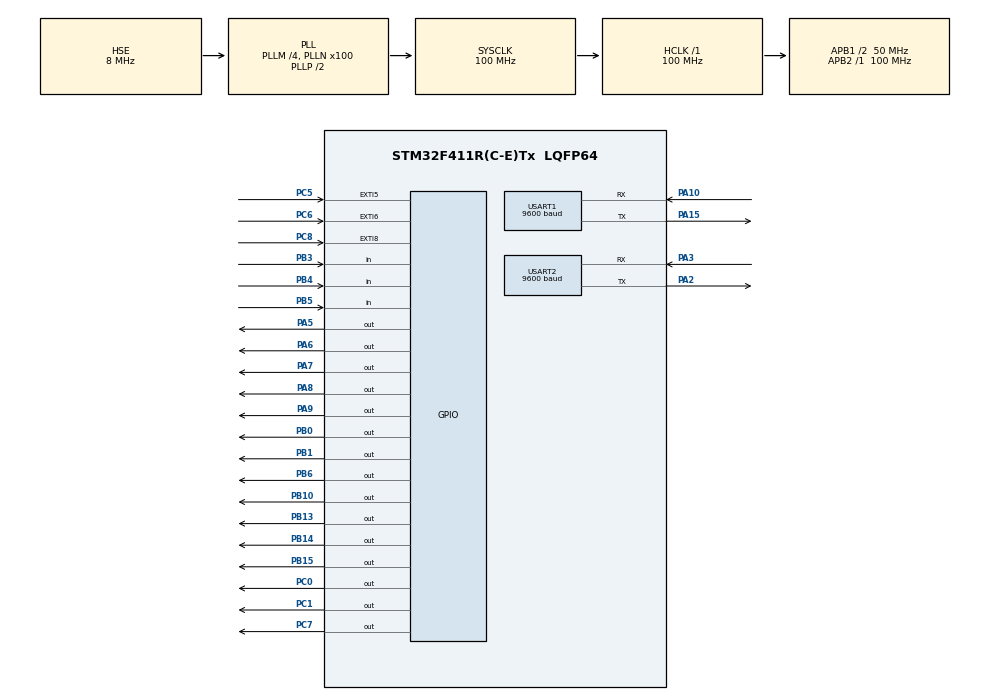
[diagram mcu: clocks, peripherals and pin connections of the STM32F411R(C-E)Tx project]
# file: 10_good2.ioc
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Mcu.Family=STM32F4
Mcu.Name=STM32F411R(C-E)Tx
Mcu.Package=LQFP64
NVIC.PriorityGroup=NVIC_PRIORITYGROUP_0
NVIC.USART1_IRQn=true\:0\:0\:false\:false\:true\:true\:true\:true
NVIC.USART2_IRQn=true\:0\:0\:false\:false\:true\:true\:true\:true
PA10.Mode=Asynchronous
PA10.Signal=USART1_RX
PA13.Mode=Serial_Wire
PA13.Signal=SYS_JTMS-SWDIO
PA14.Mode=Serial_Wire
PA14.Signal=SYS_JTCK-SWCLK
PA15.Mode=Asynchronous
PA15.Signal=USART1_TX
PA2.Mode=Asynchronous
PA2.Signal=USART2_TX
PA3.Mode=Asynchronous
PA3.Signal=USART2_RX
PA5.GPIO_ModeDefaultOutputPP=GPIO_MODE_OUTPUT_PP
PA5.GPIO_PuPd=GPIO_NOPULL
PA5.GPIO_Speed=GPIO_SPEED_FREQ_LOW
PA5.PinState=GPIO_PIN_RESET
PA5.Signal=GPIO_Output
PA6.GPIO_ModeDefaultOutputPP=GPIO_MODE_OUTPUT_PP
PA6.GPIO_PuPd=GPIO_NOPULL
PA6.GPIO_Speed=GPIO_SPEED_FREQ_LOW
PA6.PinState=GPIO_PIN_RESET
PA6.Signal=GPIO_Output
PA7.GPIO_ModeDefaultOutputPP=GPIO_MODE_OUTPUT_PP
PA7.GPIO_PuPd=GPIO_NOPULL
PA7.GPIO_Speed=GPIO_SPEED_FREQ_LOW
PA7.PinState=GPIO_PIN_RESET
PA7.Signal=GPIO_Output
PA8.PinState=GPIO_PIN_RESET
PA8.Signal=GPIO_Output
PA9.GPIO_ModeDefaultOutputPP=GPIO_MODE_OUTPUT_PP
PA9.GPIO_PuPd=GPIO_NOPULL
PA9.GPIO_Speed=GPIO_SPEED_FREQ_LOW
PA9.PinState=GPIO_PIN_RESET
PA9.Signal=GPIO_Output
PB0.Signal=GPIO_Output
PB1.Signal=GPIO_Output
PB10.GPIO_ModeDefaultOutputPP=GPIO_MODE_OUTPUT_PP
PB10.GPIO_PuPd=GPIO_NOPULL
PB10.GPIO_Speed=GPIO_SPEED_FREQ_LOW
PB10.PinState=GPIO_PIN_RESET
PB10.Signal=GPIO_Output
PB13.Signal=GPIO_Output
PB14.Signal=GPIO_Output
PB15.Signal=GPIO_Output
PB3.Signal=GPIO_Input
PB4.Signal=GPIO_Input
PB5.Signal=GPIO_Input
PB6.GPIO_ModeDefaultOutputPP=GPIO_MODE_OUTPUT_PP
PB6.GPIO_PuPd=GPIO_NOPULL
PB6.GPIO_Speed=GPIO_SPEED_FREQ_LOW
PB6.PinState=GPIO_PIN_RESET
PB6.Signal=GPIO_Output
PC0.Signal=GPIO_Output
PC1.Signal=GPIO_Output
PC5.Signal=GPXTI5
PC6.Signal=GPXTI6
PC7.GPIO_ModeDefaultOutputPP=GPIO_MODE_OUTPUT_PP
PC7.GPIO_PuPd=GPIO_NOPULL
PC7.GPIO_Speed=GPIO_SPEED_FREQ_LOW
PC7.PinState=GPIO_PIN_RESET
PC7.Signal=GPIO_Output
PC8.Signal=GPXTI8
PH0\ -\ OSC_IN.Mode=HSE-External-Oscillator
PH0\ -\ OSC_IN.Signal=RCC_OSC_IN
PH1\ -\ OSC_OUT.Mode=HSE-External-Oscillator
PH1\ -\ OSC_OUT.Signal=RCC_OSC_OUT
ProjectManager.HeapSize=0x200
ProjectManager.StackSize=0x400
ProjectManager.TargetToolchain=STM32CubeIDE
RCC.48MHZClocksFreq_Value=50000000
RCC.AHBFreq_Value=100000000
RCC.APB1CLKDivider=RCC_HCLK_DIV2
RCC.APB1Freq_Value=50000000
RCC.APB1TimFreq_Value=100000000
RCC.APB2Freq_Value=100000000
RCC.APB2TimFreq_Value=100000000
RCC.CortexFreq_Value=100000000
RCC.HCLKFreq_Value=100000000
RCC.HSE_VALUE=8000000
RCC.HSI_VALUE=16000000
RCC.LSE_VALUE=32768
RCC.PLLM=4
RCC.PLLN=100
RCC.PLLSourceVirtual=RCC_PLLSOURCE_HSE
RCC.SYSCLKFreq_VALUE=100000000
RCC.SYSCLKSource=RCC_SYSCLKSOURCE_PLLCLK
RCC.VCOOutputFreq_Value=200000000
USART1.BaudRate=9600
USART1.VirtualMode=VM_ASYNC
USART2.BaudRate=9600
USART2.VirtualMode=VM_ASYNC
board=NUCLEO-F411RE

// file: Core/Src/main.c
/* USER CODE BEGIN Header */
/**
  ******************************************************************************
  * @file           : main.c
  * @brief          : Main program body
  ******************************************************************************
  * @attention
  *
  * Copyright (c) 2025 STMicroelectronics.
  * All rights reserved.
  *
  * This software is licensed under terms that can be found in the LICENSE file
  * in the root directory of this software component.
  * If no LICENSE file comes with this software, it is provided AS-IS.
  *
  ******************************************************************************
  */
/* USER CODE END Header */
#include "main.h"
#include "usart.h"
#include "gpio.h"

/* USER CODE BEGIN Includes */

#include "led.h"
#include "button.h"
#include "fnd.h"
#include "stepper.h"

/* USER CODE END Includes */

/* USER CODE BEGIN PD */

#define DEBOUNCE_DELAY  	50

/* USER CODE END PD */

/* USER CODE BEGIN PV */

uint8_t rxData1;
uint8_t rxData2;

volatile uint8_t isTx1Busy = 0;
volatile uint8_t isTx2Busy = 0;

/* USER CODE END PV */

void SystemClock_Config(void);
/* USER CODE BEGIN PFP */

uint32_t millis()
{
	return HAL_GetTick();
}

void HAL_UART_RxCpltCallback(UART_HandleTypeDef *huart)
{
    if (huart->Instance == USART2)
    {
        HAL_UART_Receive_IT(&huart2, &rxData2, sizeof(rxData2));

        if (!isTx1Busy)
        {
            isTx1Busy = 1; // 전송 중 플래그 설정
            HAL_UART_Transmit_IT(&huart1, &rxData2, sizeof(rxData2));
        }
    }
    else if (huart->Instance == USART1)
    {
        HAL_UART_Receive_IT(&huart1, &rxData1, sizeof(rxData1));

        if (!isTx2Busy)
        {
            isTx2Busy = 1; // 전송 중 플래그 설정
            HAL_UART_Transmit_IT(&huart2, &rxData1, sizeof(rxData1));
        }
    }
}

void HAL_UART_TxCpltCallback(UART_HandleTypeDef *huart)
{
    if (huart->Instance == USART1)
    {
        isTx1Busy = 0; // 전송 완료 → 다시 전송 가능
    }
    else if (huart->Instance == USART2)
    {
        isTx2Busy = 0;
    }
}

/* USER CODE END PFP */

int main(void)
{

  /* MCU Configuration--------------------------------------------------------*/

  /* Reset of all peripherals, Initializes the Flash interface and the Systick. */
  HAL_Init();

  /* Configure the system clock */
  SystemClock_Config();

  /* Initialize all configured peripherals */
  MX_GPIO_Init();
  MX_USART1_UART_Init();
  MX_USART2_UART_Init();
  /* USER CODE BEGIN 2 */

  HAL_UART_Receive_IT(&huart2, &rxData2, 1);
  HAL_UART_Receive_IT(&huart1, &rxData1, 1);

  displayNumber(2);

  /* USER CODE END 2 */

  /* Infinite loop */
  /* USER CODE BEGIN WHILE */
  while (1)
  {
	  stepperTask(); // 항상 호출

	  if (rxData1 >= '0' && rxData1 <= '9')
	     {
		     uint8_t num = rxData1 -'0';
		     displayNumber(num);

		     switch (num)
		          {
		              case 1:
		                  HAL_GPIO_TogglePin(GPIOB, GPIO_PIN_0); // 버튼1과 동일 동작
		                  rotateUntilSensor_NB(DIR_CW); break;

		              case 2:
		                  HAL_GPIO_TogglePin(GPIOC, GPIO_PIN_1); // 버튼2와 동일 동작
		                  rotateUntilSensor_NB(DIR_CCW); break;

		              case 3:
		                  HAL_GPIO_TogglePin(GPIOC, GPIO_PIN_0); // 버튼3과 동일 동작
		                  rotateDegrees_NB(0, DIR_CW); break;

		              default:
		                  // 다른 숫자는 아무 동작 안함
		                  break;
		          }

		          rxData1 = 0; // 처리 완료 후 초기화 (중복 실행 방지)

	     }

	  if(buttonGetPressed(0)) rotateUntilSensor_NB(DIR_CW);
	  if(buttonGetPressed(1)) rotateUntilSensor_NB(DIR_CCW);
	  if(buttonGetPressed(2)) rotateDegrees_NB(0, DIR_CW);

  	}

    /* USER CODE END WHILE */

}

void SystemClock_Config(void)
{
  RCC_OscInitTypeDef RCC_OscInitStruct = {0};
  RCC_ClkInitTypeDef RCC_ClkInitStruct = {0};

  /** Configure the main internal regulator output voltage
  */
  __HAL_RCC_PWR_CLK_ENABLE();
  __HAL_PWR_VOLTAGESCALING_CONFIG(PWR_REGULATOR_VOLTAGE_SCALE1);

  /** Initializes the RCC Oscillators according to the specified parameters
  * in the RCC_OscInitTypeDef structure.
  */
  RCC_OscInitStruct.OscillatorType = RCC_OSCILLATORTYPE_HSE;
  RCC_OscInitStruct.HSEState = RCC_HSE_ON;
  RCC_OscInitStruct.PLL.PLLState = RCC_PLL_ON;
  RCC_OscInitStruct.PLL.PLLSource = RCC_PLLSOURCE_HSE;
  RCC_OscInitStruct.PLL.PLLM = 4;
  RCC_OscInitStruct.PLL.PLLN = 100;
  RCC_OscInitStruct.PLL.PLLP = RCC_PLLP_DIV2;
  RCC_OscInitStruct.PLL.PLLQ = 4;
  if (HAL_RCC_OscConfig(&RCC_OscInitStruct) != HAL_OK)
  {
    Error_Handler();
  }

  /** Initializes the CPU, AHB and APB buses clocks
  */
  RCC_ClkInitStruct.ClockType = RCC_CLOCKTYPE_HCLK|RCC_CLOCKTYPE_SYSCLK
                              |RCC_CLOCKTYPE_PCLK1|RCC_CLOCKTYPE_PCLK2;
  RCC_ClkInitStruct.SYSCLKSource = RCC_SYSCLKSOURCE_PLLCLK;
  RCC_ClkInitStruct.AHBCLKDivider = RCC_SYSCLK_DIV1;
  RCC_ClkInitStruct.APB1CLKDivider = RCC_HCLK_DIV2;
  RCC_ClkInitStruct.APB2CLKDivider = RCC_HCLK_DIV1;

  if (HAL_RCC_ClockConfig(&RCC_ClkInitStruct, FLASH_LATENCY_3) != HAL_OK)
  {
    Error_Handler();
  }
}

void Error_Handler(void)
{
  __disable_irq();
  while (1)
  {
  }
}
